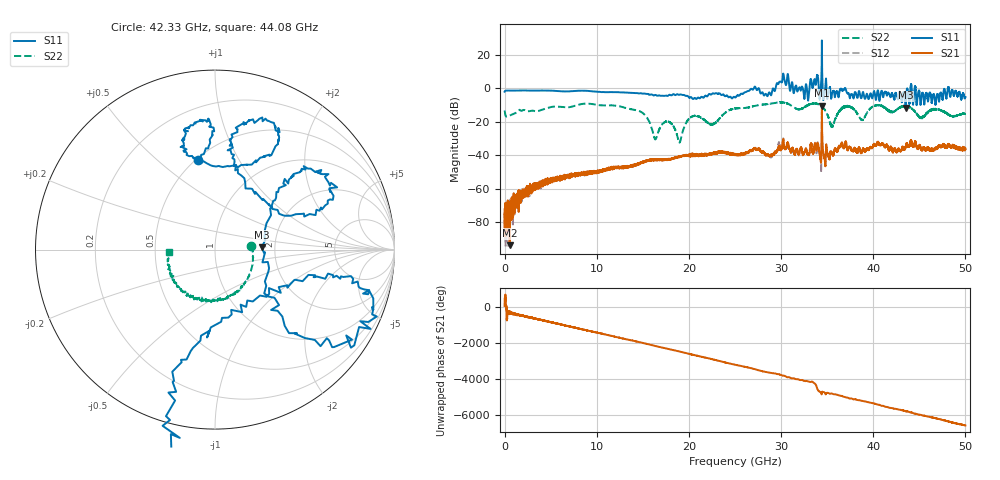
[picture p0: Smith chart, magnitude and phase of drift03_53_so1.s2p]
!Created with skrf (http://scikit-rf.org).
# Hz S RI R 50.0
!freq ReS11 ImS11 ReS21 ImS21 ReS12 ImS12 ReS22 ImS22
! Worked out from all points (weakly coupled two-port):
!   10000 points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, 5.3 MHz to 50 GHz, reference 50 ohm
!   highest |S21| = -10.53 dB at 34.43 GHz (marker M1); lowest = -93.9 dB at 565.3 MHz (marker M2)
!   lowest |S11| = -11.7 dB at 43.52 GHz (marker M3), VSWR 1.71, Z = 85.2 + j2.3 ohm
!   |S11| at or under -10 dB: 43.48787 GHz to 43.53945 GHz (51.58 MHz wide, 0.119 % of centre); 44.70429 GHz to 44.71026 GHz (5.976 MHz wide, 0.0134 % of centre); 45.13447 GHz to 45.13581 GHz (1.344 MHz wide, 0.00298 % of centre) (the widest 3 of 4)
!   |S22| runs from -32.5 to -8.4 dB; largest |S21 - S12| = 0.1
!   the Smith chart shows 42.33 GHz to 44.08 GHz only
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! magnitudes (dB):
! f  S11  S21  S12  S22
! 5.3 MHz  -2.1  -72.4  -82.7  -13.3
! 565.3 MHz  -1.4  -93.9  -70.7  -16.3
! 3.33 GHz  -1.4  -56.8  -58.0  -13.8
! 8.34 GHz  -1.5  -50.4  -51.4  -9.5
! 14.57 GHz  -3.1  -45.0  -45.3  -13.6
! 16.67 GHz  -4.4  -42.9  -42.8  -26.3
! 17.79 GHz  -4.3  -42.4  -42.4  -20.0
! 18.99 GHz  -3.9  -41.1  -41.0  -32.4
! 20.29 GHz  -5.6  -40.1  -40.1  -17.1
! 22.58 GHz  -3.1  -39.1  -39.3  -21.6
! 25.01 GHz  -5.5  -39.7  -39.7  -12.1
! 28.72 GHz  -2.5  -40.5  -40.2  -9.4
! 30.14 GHz  4.4  -33.4  -34.0  -8.5
! 32.74 GHz  2.0  -36.8  -36.8  -10.7
! 33.34 GHz  2.6  -34.8  -35.0  -9.4
! 34.43 GHz  28.6  -10.5  -12.9  -10.9
! 35.53 GHz  -3.4  -38.6  -38.9  -23.3
! 36.96 GHz  0.2  -33.5  -33.0  -10.8
! 38.78 GHz  -4.9  -38.2  -37.8  -19.1
! 41.67 GHz  -3.0  -36.7  -37.1  -13.4
! 43.52 GHz  -11.7  -35.0  -34.9  -10.9
! 50 GHz  -5.3  -36.1  -36.3  -15.4
